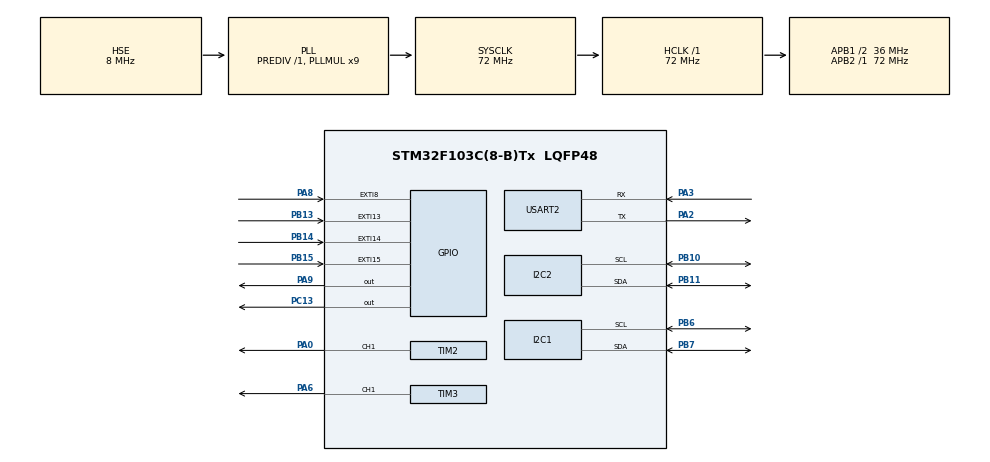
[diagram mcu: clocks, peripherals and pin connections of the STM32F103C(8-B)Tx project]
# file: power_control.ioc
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FREERTOS.Mutexes01=PowerStateAcssess,Dynamic,NULL,Available;I2CAccess,Dynamic,NULL,Available;dev_uart1,Dynamic,NULL,Available
FREERTOS.Queues01=myQueue01,8,buttom_msg_pass_t,0,Dynamic,NULL,NULL
FREERTOS.Tasks01=defaultTask,24,128,StartDefaultTask,Default,NULL,Dynamic,NULL,NULL;buttom,49,128,buttomTask,Default,NULL,Dynamic,NULL,NULL;PIDv,55,160,Vlotage_pid,Default,NULL,Dynamic,NULL,NULL;sensorTask,49,160,sensorRead,Default,NULL,Dynamic,NULL,NULL;sensor_err_hand,25,192,sensor_err_handle,Default,NULL,Dynamic,NULL,NULL;screen,25,192,screen_show,Default,NULL,Dynamic,NULL,NULL;iwdog_feed,55,64,IWDOG_feed,Default,NULL,Dynamic,NULL,NULL;buttomDetectTas,49,128,buttom_detect,Default,NULL,Dynamic,NULL,NULL
FREERTOS.configMINIMAL_STACK_SIZE=64
FREERTOS.configTOTAL_HEAP_SIZE=8192
I2C2.I2C_Mode=I2C_Fast
IWDG.Prescaler=IWDG_PRESCALER_64
IWDG.Reload=1230
Mcu.Family=STM32F1
Mcu.Name=STM32F103C(8-B)Tx
Mcu.Package=LQFP48
NVIC.EXTI15_10_IRQn=true\:5\:0\:true\:true\:true\:2\:false\:true\:true\:true
NVIC.EXTI9_5_IRQn=true\:5\:0\:true\:true\:true\:1\:false\:true\:true\:true
NVIC.PriorityGroup=NVIC_PRIORITYGROUP_4
NVIC.TIM4_IRQn=true\:15\:0\:false\:false\:true\:false\:false\:true\:true
NVIC.TimeBase=TIM4_IRQn
NVIC.TimeBaseIP=TIM4
PA0-WKUP.Signal=S_TIM2_CH1_ETR
PA13.Mode=Serial_Wire
PA13.Signal=SYS_JTMS-SWDIO
PA14.Mode=Serial_Wire
PA14.Signal=SYS_JTCK-SWCLK
PA2.Mode=Asynchronous
PA2.Signal=USART2_TX
PA3.Mode=Asynchronous
PA3.Signal=USART2_RX
PA6.Signal=S_TIM3_CH1
PA8.GPIO_ModeDefaultEXTI=GPIO_MODE_IT_RISING_FALLING
PA8.GPIO_PuPd=GPIO_PULLUP
PA8.Signal=GPXTI8
PA9.GPIO_PuPd=GPIO_NOPULL
PA9.Signal=GPIO_Output
PB10.Mode=I2C
PB10.Signal=I2C2_SCL
PB11.Mode=I2C
PB11.Signal=I2C2_SDA
PB13.GPIO_ModeDefaultEXTI=GPIO_MODE_IT_RISING_FALLING
PB13.GPIO_PuPd=GPIO_PULLUP
PB13.Signal=GPXTI13
PB14.GPIO_ModeDefaultEXTI=GPIO_MODE_IT_RISING_FALLING
PB14.GPIO_PuPd=GPIO_PULLUP
PB14.Signal=GPXTI14
PB15.GPIO_ModeDefaultEXTI=GPIO_MODE_IT_RISING_FALLING
PB15.GPIO_PuPd=GPIO_PULLUP
PB15.Signal=GPXTI15
PB6.Mode=I2C
PB6.Signal=I2C1_SCL
PB7.Mode=I2C
PB7.Signal=I2C1_SDA
PC13-TAMPER-RTC.PinState=GPIO_PIN_SET
PC13-TAMPER-RTC.Signal=GPIO_Output
PD0-OSC_IN.Mode=HSE-External-Oscillator
PD0-OSC_IN.Signal=RCC_OSC_IN
PD1-OSC_OUT.Mode=HSE-External-Oscillator
PD1-OSC_OUT.Signal=RCC_OSC_OUT
ProjectManager.HeapSize=0x200
ProjectManager.StackSize=0x400
ProjectManager.TargetToolchain=MDK-ARM V5.32
RCC.AHBFreq_Value=72000000
RCC.APB1CLKDivider=RCC_HCLK_DIV2
RCC.APB1Freq_Value=36000000
RCC.APB1TimFreq_Value=72000000
RCC.APB2Freq_Value=72000000
RCC.APB2TimFreq_Value=72000000
RCC.HCLKFreq_Value=72000000
RCC.PLLMUL=RCC_PLL_MUL9
RCC.PLLSourceVirtual=RCC_PLLSOURCE_HSE
RCC.SYSCLKFreq_VALUE=72000000
RCC.SYSCLKSource=RCC_SYSCLKSOURCE_PLLCLK
RCC.USBFreq_Value=72000000
SH.S_TIM2_CH1_ETR.0=TIM2_CH1,PWM Generation1 CH1
SH.S_TIM3_CH1.0=TIM3_CH1,PWM Generation1 CH1
TIM1.Period=1999
TIM1.Prescaler=719
TIM2.Channel-PWM\ Generation1\ CH1=TIM_CHANNEL_1
TIM2.Period=999
TIM2.Prescaler=3
TIM2.Pulse-PWM\ Generation1\ CH1=937
TIM3.Channel-PWM\ Generation1\ CH1=TIM_CHANNEL_1
TIM3.Period=999
TIM3.Prescaler=3
TIM3.Pulse-PWM\ Generation1\ CH1=324
USART2.VirtualMode=VM_ASYNC
VP_FREERTOS_VS_CMSIS_V2.Mode=CMSIS_V2
VP_IWDG_VS_IWDG.Mode=IWDG_Activate
VP_SYS_VS_tim4.Mode=TIM4
VP_TIM1_VS_ClockSourceINT.Mode=Internal
board=custom

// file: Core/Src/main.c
/* USER CODE BEGIN Header */
/**
  ******************************************************************************
  * @file           : main.c
  * @brief          : Main program body
  ******************************************************************************
  * @attention
  *
  * Copyright (c) 2026 STMicroelectronics.
  * All rights reserved.
  *
  * This software is licensed under terms that can be found in the LICENSE file
  * in the root directory of this software component.
  * If no LICENSE file comes with this software, it is provided AS-IS.
  *
  ******************************************************************************
  */
/* USER CODE END Header */
#include "main.h"
#include "cmsis_os.h"
#include "i2c.h"
#include "iwdg.h"
#include "tim.h"
#include "usart.h"
#include "gpio.h"

/* USER CODE BEGIN Includes */
#include "powerMaster.h"
#include "power_config.h"
#include "uart_debug.h"
#include "sensors.h"
/* USER CODE END Includes */

void SystemClock_Config(void);
void MX_FREERTOS_Init(void);
static void MX_NVIC_Init(void);

/* USER CODE BEGIN 0 */
// struct sensor_INA226_init INA226_init_data = {INA226_calibration_10A_6mOhm};
// u8g2_t u8g2;
/* USER CODE END 0 */

int main(void)
{

  /* USER CODE BEGIN 1 */
  CoreDebug->DEMCR |= CoreDebug_DEMCR_TRCENA_Msk;
  DWT->CYCCNT = 0;
  DWT->CTRL |= DWT_CTRL_CYCCNTENA_Msk;
  /* USER CODE END 1 */

  /* MCU Configuration--------------------------------------------------------*/

  /* Reset of all peripherals, Initializes the Flash interface and the Systick. */
  HAL_Init();

  /* Configure the system clock */
  SystemClock_Config();

  /* Initialize all configured peripherals */
  MX_GPIO_Init();
  MX_I2C1_Init();
  MX_TIM2_Init();
  MX_TIM3_Init();
  MX_USART2_UART_Init();
  MX_I2C2_Init();
  MX_TIM1_Init();
  MX_IWDG_Init();

  /* Initialize interrupts */
  MX_NVIC_Init();
  /* USER CODE BEGIN 2 */

  Sensors_bus_init();      //bind &hi2c1 to the sensor bus layer

  HAL_TIM_PWM_Start(&htim2,TIM_CHANNEL_1);
  HAL_TIM_PWM_Start(&htim3,TIM_CHANNEL_1);
  HAL_TIM_PWM_Start(&htim1,TIM_CHANNEL_4);

  PowerStateInit(POWER_SETUP_OUT_STATE,POWER_SETUP_VOLTAGE_SET,POWER_SETUP_CURRENT_LIMIT);

  //start
  UART_Printf("main start\r\n");
  /* USER CODE END 2 */

  /* Init scheduler */
  osKernelInitialize();  /* Call init function for freertos objects (in cmsis_os2.c) */
  MX_FREERTOS_Init();

  /* Start scheduler */
  osKernelStart();

  /* We should never get here as control is now taken by the scheduler */

  /* Infinite loop */
  while (1)
  {

  }
}

void SystemClock_Config(void)
{
  RCC_OscInitTypeDef RCC_OscInitStruct = {0};
  RCC_ClkInitTypeDef RCC_ClkInitStruct = {0};

  /** Initializes the RCC Oscillators according to the specified parameters
  * in the RCC_OscInitTypeDef structure.
  */
  RCC_OscInitStruct.OscillatorType = RCC_OSCILLATORTYPE_LSI|RCC_OSCILLATORTYPE_HSE;
  RCC_OscInitStruct.HSEState = RCC_HSE_ON;
  RCC_OscInitStruct.HSEPredivValue = RCC_HSE_PREDIV_DIV1;
  RCC_OscInitStruct.HSIState = RCC_HSI_ON;
  RCC_OscInitStruct.LSIState = RCC_LSI_ON;
  RCC_OscInitStruct.PLL.PLLState = RCC_PLL_ON;
  RCC_OscInitStruct.PLL.PLLSource = RCC_PLLSOURCE_HSE;
  RCC_OscInitStruct.PLL.PLLMUL = RCC_PLL_MUL9;
  if (HAL_RCC_OscConfig(&RCC_OscInitStruct) != HAL_OK)
  {
    Error_Handler();
  }

  /** Initializes the CPU, AHB and APB buses clocks
  */
  RCC_ClkInitStruct.ClockType = RCC_CLOCKTYPE_HCLK|RCC_CLOCKTYPE_SYSCLK
                              |RCC_CLOCKTYPE_PCLK1|RCC_CLOCKTYPE_PCLK2;
  RCC_ClkInitStruct.SYSCLKSource = RCC_SYSCLKSOURCE_PLLCLK;
  RCC_ClkInitStruct.AHBCLKDivider = RCC_SYSCLK_DIV1;
  RCC_ClkInitStruct.APB1CLKDivider = RCC_HCLK_DIV2;
  RCC_ClkInitStruct.APB2CLKDivider = RCC_HCLK_DIV1;

  if (HAL_RCC_ClockConfig(&RCC_ClkInitStruct, FLASH_LATENCY_2) != HAL_OK)
  {
    Error_Handler();
  }
}

/**
  * @brief NVIC Configuration.
  * @retval None
  */
static void MX_NVIC_Init(void)
{
  /* EXTI9_5_IRQn interrupt configuration */
  HAL_NVIC_SetPriority(EXTI9_5_IRQn, 5, 0);
  HAL_NVIC_EnableIRQ(EXTI9_5_IRQn);
  /* EXTI15_10_IRQn interrupt configuration */
  HAL_NVIC_SetPriority(EXTI15_10_IRQn, 5, 0);
  HAL_NVIC_EnableIRQ(EXTI15_10_IRQn);
}

void HAL_TIM_PeriodElapsedCallback(TIM_HandleTypeDef *htim)
{
  if (htim->Instance == TIM4)
  {
    HAL_IncTick();
  }
}

void Error_Handler(void)
{
  __disable_irq();
  while (1)
  {
  }
}

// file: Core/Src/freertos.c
/* USER CODE BEGIN Header */
/**
  ******************************************************************************
  * File Name          : freertos.c
  * Description        : Code for freertos applications
  ******************************************************************************
  * @attention
  *
  * Copyright (c) 2026 STMicroelectronics.
  * All rights reserved.
  *
  * This software is licensed under terms that can be found in the LICENSE file
  * in the root directory of this software component.
  * If no LICENSE file comes with this software, it is provided AS-IS.
  *
  ******************************************************************************
  */
/* USER CODE END Header */

#include "FreeRTOS.h"
#include "task.h"
#include "main.h"
#include "cmsis_os.h"

/* USER CODE BEGIN Includes */
#include "powerMaster.h"
#include "tim.h"
#include "usart.h"
#include "sensors.h"
#include "sensors_dev.h"
#include "stm32_u8g2.h"
#include "stdio.h"
#include "power_config.h"
#include "uart_debug.h"
#include "iwdg.h"
#include "pid.h"
#include "screen.h"
#include "buttom_detect.h"
/* USER CODE END Includes */

/* USER CODE BEGIN Variables */
  /* u8g2 handle */
  //INA226 init data
  struct sensor_INA226_init INA226_init_data = {INA226_calibration_10A_6mOhm};
/* USER CODE END Variables */
/* Definitions for defaultTask */
osThreadId_t defaultTaskHandle;
const osThreadAttr_t defaultTask_attributes = {
  .name = "defaultTask",
  .stack_size = 128 * 4,
  .priority = (osPriority_t) osPriorityNormal,
};
/* Definitions for buttom */
osThreadId_t buttomHandle;
const osThreadAttr_t buttom_attributes = {
  .name = "buttom",
  .stack_size = 128 * 4,
  .priority = (osPriority_t) osPriorityRealtime1,
};
/* Definitions for PIDv */
osThreadId_t PIDvHandle;
const osThreadAttr_t PIDv_attributes = {
  .name = "PIDv",
  .stack_size = 160 * 4,
  .priority = (osPriority_t) osPriorityRealtime7,
};
/* Definitions for sensorTask */
osThreadId_t sensorTaskHandle;
const osThreadAttr_t sensorTask_attributes = {
  .name = "sensorTask",
  .stack_size = 160 * 4,
  .priority = (osPriority_t) osPriorityRealtime1,
};
/* Definitions for sensor_err_hand */
osThreadId_t sensor_err_handHandle;
const osThreadAttr_t sensor_err_hand_attributes = {
  .name = "sensor_err_hand",
  .stack_size = 192 * 4,
  .priority = (osPriority_t) osPriorityNormal1,
};
/* Definitions for screen */
osThreadId_t screenHandle;
const osThreadAttr_t screen_attributes = {
  .name = "screen",
  .stack_size = 192 * 4,
  .priority = (osPriority_t) osPriorityNormal1,
};
/* Definitions for iwdog_feed */
osThreadId_t iwdog_feedHandle;
const osThreadAttr_t iwdog_feed_attributes = {
  .name = "iwdog_feed",
  .stack_size = 64 * 4,
  .priority = (osPriority_t) osPriorityRealtime7,
};
/* Definitions for buttomDetectTas */
osThreadId_t buttomDetectTasHandle;
const osThreadAttr_t buttomDetectTas_attributes = {
  .name = "buttomDetectTas",
  .stack_size = 128 * 4,
  .priority = (osPriority_t) osPriorityRealtime1,
};
/* Definitions for myQueue01 */
osMessageQueueId_t myQueue01Handle;
const osMessageQueueAttr_t myQueue01_attributes = {
  .name = "myQueue01"
};
/* Definitions for PowerStateAcssess */
osMutexId_t PowerStateAcssessHandle;
const osMutexAttr_t PowerStateAcssess_attributes = {
  .name = "PowerStateAcssess"
};
/* Definitions for I2CAccess */
osMutexId_t I2CAccessHandle;
const osMutexAttr_t I2CAccess_attributes = {
  .name = "I2CAccess"
};
/* Definitions for dev_uart1 */
osMutexId_t dev_uart1Handle;
const osMutexAttr_t dev_uart1_attributes = {
  .name = "dev_uart1"
};

/* USER CODE BEGIN FunctionPrototypes */
extern int16_t pid_calculate(float target_voltage, float actual_voltage);
/* USER CODE END FunctionPrototypes */

void StartDefaultTask(void *argument);
void buttomTask(void *argument);
void Vlotage_pid(void *argument);
void sensorRead(void *argument);
void sensor_err_handle(void *argument);
void screen_show(void *argument);
void IWDOG_feed(void *argument);
void buttom_detect(void *argument);

void MX_FREERTOS_Init(void); /* (MISRA C 2004 rule 8.1) */

void MX_FREERTOS_Init(void) {
  /* Create the mutex(es) */
  /* creation of PowerStateAcssess */
  PowerStateAcssessHandle = osMutexNew(&PowerStateAcssess_attributes);

  /* creation of I2CAccess */
  I2CAccessHandle = osMutexNew(&I2CAccess_attributes);

  /* creation of dev_uart1 */
  dev_uart1Handle = osMutexNew(&dev_uart1_attributes);

  /* Create the queue(s) */
  /* creation of myQueue01 */
  myQueue01Handle = osMessageQueueNew (8, sizeof(buttom_msg_pass_t), &myQueue01_attributes);

  /* Create the thread(s) */
  /* creation of defaultTask */
  defaultTaskHandle = osThreadNew(StartDefaultTask, NULL, &defaultTask_attributes);

  /* creation of buttom */
  buttomHandle = osThreadNew(buttomTask, NULL, &buttom_attributes);

  /* creation of PIDv */
  PIDvHandle = osThreadNew(Vlotage_pid, NULL, &PIDv_attributes);

  /* creation of sensorTask */
  sensorTaskHandle = osThreadNew(sensorRead, NULL, &sensorTask_attributes);

  /* creation of sensor_err_hand */
  sensor_err_handHandle = osThreadNew(sensor_err_handle, NULL, &sensor_err_hand_attributes);

  /* creation of screen */
  screenHandle = osThreadNew(screen_show, NULL, &screen_attributes);

  /* creation of iwdog_feed */
  iwdog_feedHandle = osThreadNew(IWDOG_feed, NULL, &iwdog_feed_attributes);

  /* creation of buttomDetectTas */
  buttomDetectTasHandle = osThreadNew(buttom_detect, NULL, &buttomDetectTas_attributes);

}

void StartDefaultTask(void *argument)
{
  for(;;)
  {
    osDelay(1);
  }
}

void buttomTask(void *argument)
{
  /* USER CODE BEGIN buttomTask */
  buttom_msg_pass_t process_msg;
  /* Infinite loop */
  for(;;)
  {
    osMessageQueueGet(myQueue01Handle,&process_msg,0,osWaitForever);

    if(PowerState_lock() == 0)
    {
      switch (process_msg.key_f)
      {
      case BUTTOM_KEY_ON_OFF_F:
        if(process_msg.buttom_type == BUTTOM_PRESS){
          if(PowerState.en_statu == PWR_EN_ON){   //off
            HAL_GPIO_WritePin(GPIOA,GPIO_PIN_9,GPIO_PIN_RESET);
            HAL_GPIO_WritePin(GPIOC,GPIO_PIN_13,GPIO_PIN_SET);
            PowerState.en_statu = PWR_EN_OFF;
          }
          else{
            HAL_GPIO_WritePin(GPIOA,GPIO_PIN_9,GPIO_PIN_SET);
            HAL_GPIO_WritePin(GPIOC,GPIO_PIN_13,GPIO_PIN_RESET);
            PowerState.en_statu = PWR_EN_ON;
          }
        }
        break;
      case BUTTOM_KEY_UP_F:
        if(PowerState.control_mode == PM_CONTROL_MODE_VOLTAGE)  //cv
        {
          if(process_msg.buttom_type == BUTTOM_PRESS){
            if(PowerState.set_voltage + POWER_VOLTAGE_UP_STEP > POWER_MAX_VOLTAGE)
              PowerState.set_voltage = POWER_MAX_VOLTAGE;
            else
              PowerState.set_voltage += POWER_VOLTAGE_UP_STEP;
          }
        }
        break;
      case BUTTOM_KEY_DOWN_F:
        if(PowerState.control_mode == PM_CONTROL_MODE_VOLTAGE)  //cv
        {
          if(process_msg.buttom_type == BUTTOM_PRESS){
            if(PowerState.set_voltage + POWER_VOLTAGE_DOWN_STEP < POWER_MIN_VOLTAGE)
              PowerState.set_voltage = POWER_MIN_VOLTAGE;
            else
              PowerState.set_voltage += POWER_VOLTAGE_DOWN_STEP;
          }
        }
        break;
      case BUTTOM_KEY_MODESWITCH_F:
        if(process_msg.buttom_type == BUTTOM_PRESS){
          PowerState.control_mode = ((PowerState.control_mode == PM_CONTROL_MODE_CURRENT) ? PM_CONTROL_MODE_VOLTAGE : PM_CONTROL_MODE_CURRENT);
        }
        break;

      default:
        break;
      }
      PowerState_unlock();
    }
  }
  /* USER CODE END buttomTask */
}

void Vlotage_pid(void *argument)
{
  /* USER CODE BEGIN Vlotage_pid */
  #ifdef DEV_UART_DEBUG
    int run_count = 0;
  #endif

  //time trace
#ifdef CYCLE_DETECT_PID
#if CYCLE_DETECT_PID == ON
  float pid_min = 999999,pid_max = 0, pid_sum = 0;
  uint32_t pid_count = 0;
#endif
#endif

  PI_data_typedef pi_data;
  PI_init(&pi_data, PI_CV_KP, PI_CV_KI, PI_CV_INTEGRAL_LIMIT, PI_CV_INTEGRAL_DEADZONE);

  float set_voltage = POWER_SETUP_VOLTAGE_SET;
  float new_voltage;  //V
  struct PowerStatus_t powerstate_copy;
  int32_t now_pulse = VOLTAGE_TO_PWM_PULSE(POWER_SETUP_VOLTAGE_SET);       //initial PWM pulse width, just a magic number
  int32_t pwm_pulse;
  TickType_t lastWakeTime = xTaskGetTickCount();   //period base, taken once outside the loop
  uint8_t check_over = 1;
  /* Infinite loop */
  for(;;)
  {
    check_over = 1;     //assume all checks pass, cleared on any fault

    if(PowerState_lock() == 0){
      if(PowerState.now_temperature > TEMPERATUE_LIMIT)
        PowerState.en_statu = PWR_EN_OFF;   //temperature is higher than the limit,disable the power
      powerstate_copy = PowerState;
      PowerState_unlock();
    }else{
      //lock not acquired: leave PowerState untouched this round
      check_over = 0;
    }

    if(
      powerstate_copy.en_statu == PWR_EN_OFF ||
      powerstate_copy.INA226_state == DEVICE_OFFLINE ||
      new_voltage < 0.0f ||
      check_over != 1
    )// wrong
    {
      PI_clear_integral(&pi_data);
    }
    else
    {
      //time trace
#ifdef CYCLE_DETECT_PID
#if CYCLE_DETECT_PID == ON
      uint32_t start = DWT->CYCCNT;
#endif
#endif

      // if(check_over == 1){          //all checks passed: this round may drive the PWM
      if(powerstate_copy.control_mode == PM_CONTROL_MODE_VOLTAGE)
        pwm_pulse = (int32_t)f_PI_calcu_keep(&pi_data,powerstate_copy.set_voltage,powerstate_copy.now_voltage);
      else if(powerstate_copy.control_mode == PM_CONTROL_MODE_CURRENT)
        pwm_pulse = (int32_t)f_PI_calcu_keep(&pi_data,powerstate_copy.set_current,powerstate_copy.now_current);

        if(now_pulse+pwm_pulse > PWM_VOLTAGE_PULSE_MAX)now_pulse = PWM_VOLTAGE_PULSE_MAX;
        else if(now_pulse+pwm_pulse < PWM_VOLTAGE_PULSE_MIN)now_pulse = PWM_VOLTAGE_PULSE_MIN;
        else now_pulse += pwm_pulse;

        __HAL_TIM_SET_COMPARE(&htim3,TIM_CHANNEL_1,now_pulse);
      // }
      //time trace
#ifdef CYCLE_DETECT_PID
#if CYCLE_DETECT_PID == ON
      uint32_t end = DWT->CYCCNT;
      uint32_t cycles = end-start;
      float us = (float)cycles / (SystemCoreClock / 1000000.0f);

      if(us < pid_min)pid_min = us;
      if(us > pid_max)pid_max = us;
      pid_sum += us;
      pid_count++;
      UART_Printf("PID:%.1f us\r\n",us);
      if(pid_count % 100 == 0)
      UART_Printf("PID min:%.1f, avg:%.1f, max:%.1f us\r\n",pid_min,pid_sum/pid_count,pid_max);
#endif
#endif
    }

  #ifdef DEV_UART_DEBUG
    UART_Printf("voltage_pid:%d\r\n",run_count++);
    UART_Printf("voltage_pid_stack:%d\r\n",uxTaskGetStackHighWaterMark(PIDvHandle));
  #endif

    vTaskDelayUntil(&lastWakeTime, pdMS_TO_TICKS(50));  //50ms period
  }
  /* USER CODE END Vlotage_pid */
}

void sensorRead(void *argument)
{
  /* USER CODE BEGIN sensorRead */
#ifdef DEV_UART_DEBUG
  int run_count = 0;
#endif
  //time trace
#ifdef CYCLE_DETECT_I2C1
#if CYCLE_DETECT_I2C1 == ON
  float i2c_min = 999999,i2c_max = 0, i2c_sum = 0;
  uint32_t i2c_count = 0;
#endif
#endif

  float temperature;
  float voltage;
  float current;

  int temperature_err_count = 0;
  int voltage_err_count = 0;
  int current_err_count = 0;

  char I2C_state;
  char INA226_state;
  char TMP112A_state;

  sensor_state_t state_res_temperature;
  sensor_state_t state_res_voltage;
  sensor_state_t state_res_current;
  TickType_t lastWakeTime = xTaskGetTickCount();  //period base
  TickType_t write_time;
  /* Infinite loop */
  INA226_init(INA226_init_data);
  for(;;)
  {
#ifdef DEV_UART_DEBUG
    UART_Printf("sensorRead:%d\r\n",run_count);
    UART_Printf("sensorRead_stack:%d\r\n",uxTaskGetStackHighWaterMark(sensorTaskHandle));
#endif
    //wait first,so continue is the only need to start the next round
    vTaskDelayUntil(&lastWakeTime, pdMS_TO_TICKS(20));  //20ms delay

    I2C_state = DEVICE_OFFLINE;
    INA226_state = DEVICE_OFFLINE;
    TMP112A_state = DEVICE_OFFLINE;
    state_res_temperature = SENSOR_ERR_DEV;
    state_res_voltage = SENSOR_ERR_DEV;
    state_res_current = SENSOR_ERR_DEV;
    //iic sensor read
    if(PowerState_lock() == 0)
    {
      I2C_state = PowerState.I2C1_state;
      INA226_state = PowerState.INA226_state;
      TMP112A_state = PowerState.TMP112_state;
      PowerState_unlock();
    }

    //time trace
#ifdef CYCLE_DETECT_I2C1
#if CYCLE_DETECT_I2C1 == ON
    uint32_t start = DWT->CYCCNT;
#endif
#endif

    if(I2C_state == DEVICE_ONLINE)  //work only when the bus is online
    {
      if(TMP112A_state == DEVICE_ONLINE){
        state_res_temperature = TMP112_ReadTemperature(&temperature);
        if(state_res_temperature != SENSOR_SUCCESS) {// Handle error
          temperature_err_count++;
        }
      }else{
        state_res_temperature = SENSOR_SKIP;
      }

      if(INA226_state == DEVICE_ONLINE)
      {
        state_res_current = INA226_readCuttent(0.0005f,&current);     //0.0005A/per
        if(state_res_current != SENSOR_SUCCESS) {
          current_err_count++;
        }
        state_res_voltage = INA226_readVoltage(0.00125f,&voltage);    //0.00125V/per
        if(state_res_voltage != SENSOR_SUCCESS) {
          voltage_err_count++;
        }
      }else{
        state_res_current = SENSOR_SKIP;
        state_res_voltage = SENSOR_SKIP;
      }
    }

    //time trace
#ifdef CYCLE_DETECT_I2C1
#if CYCLE_DETECT_I2C1 == ON
    uint32_t end = DWT->CYCCNT;
    uint32_t cycles = end-start;
    float us = (float)cycles / (SystemCoreClock / 1000000.0f);

    if(us < i2c_min)i2c_min = us;
    if(us > i2c_max)i2c_max = us;
    i2c_sum += us;
    i2c_count++;
    UART_Printf("I2C:%.1f us\r\n",us);
    if(i2c_count % 100 == 0)
      UART_Printf("I2C min:%.1f, avg:%.1f, max:%.1f us\r\n",i2c_min,i2c_sum/i2c_count,i2c_max);
#endif
#endif

    // write to PowerState struct, reset error counters if they exceed threshold
    if(PowerState_lock() == 0){
      //error count reset
      if(temperature_err_count >= SENSOR_ERROR_THRESHOLD){
        temperature_err_count = 0;
        PowerState.TMP112_state = DEVICE_OFFLINE;
      }
      if(voltage_err_count >= SENSOR_ERROR_THRESHOLD){
        voltage_err_count = 0;
        PowerState.INA226_state = DEVICE_OFFLINE;
      }
      if(current_err_count >= SENSOR_ERROR_THRESHOLD){
        current_err_count = 0;
        PowerState.INA226_state = DEVICE_OFFLINE;
      }
      //data write
      write_time = xTaskGetTickCount();
      if(state_res_temperature == SENSOR_SUCCESS){
        PowerState.now_temperature = temperature;
        PowerState.last_update_time_temperature = write_time;
      }
      if(state_res_voltage == SENSOR_SUCCESS){
        PowerState.now_voltage = voltage;
        PowerState.last_update_time_voltage = write_time;
      }
      if(state_res_current == SENSOR_SUCCESS){
        PowerState.now_current = current;
        PowerState.last_update_time_current = write_time;
      }
      PowerState_unlock();
    }

  }
  /* USER CODE END sensorRead */
}

void sensor_err_handle(void *argument)
{
  /* USER CODE BEGIN sensor_err_handle */
#ifdef DEV_UART_DEBUG
  int run_count = 0;
#endif
  TickType_t lastWakeTime = xTaskGetTickCount();  //period base
  struct PowerStatus_t PowerState_copy;   //local copy to avoid holding the lock too long
  /* Infinite loop */
  for(;;)
  {
  #ifdef DEV_UART_DEBUG
    UART_Printf("sensor_err_handle:%d\r\n",run_count);
    UART_Printf("sensor_err_handle_stack:%d\r\n",uxTaskGetStackHighWaterMark(sensor_err_handHandle));
  #endif

    vTaskDelayUntil(&lastWakeTime, pdMS_TO_TICKS(200));  //200ms delay

    if(PowerState_lock() == 0){
      PowerState_copy = PowerState;
      if(PowerState_copy.INA226_state == DEVICE_OFFLINE && PowerState_copy.TMP112_state == DEVICE_OFFLINE){
        PowerState_copy.I2C1_state = DEVICE_OFFLINE;   //if both sensors are offline, the bus is likely offline too
        PowerState.I2C1_state = DEVICE_OFFLINE;   //update the shared struct immediately
      }

      if(PowerState_copy.SH1106_state == DEVICE_OFFLINE){
        PowerState_copy.I2C2_state = DEVICE_OFFLINE;
        PowerState.I2C2_state = DEVICE_OFFLINE;
      }
      PowerState_unlock();
    }else{
      continue;   //lock not acquired: skip this round
    }

    if(PowerState_copy.I2C1_state == DEVICE_OFFLINE){
      if(Sensors_bus_restart() == 0){
        PowerState_copy.I2C1_state = DEVICE_ONLINE;   //try to recover the bus
      }
    }
    if(PowerState_copy.INA226_state == DEVICE_OFFLINE){
      if(INA226_init(INA226_init_data) == SENSOR_SUCCESS){
        PowerState_copy.INA226_state = DEVICE_ONLINE;   //try to recover the INA226
      }
    }

    if(PowerState_copy.TMP112_state == DEVICE_OFFLINE){
      float temp;
      if(TMP112_ReadTemperature(&temp) == SENSOR_SUCCESS){
        PowerState_copy.TMP112_state = DEVICE_ONLINE;   //try to recover the TMP112
      }
    }

    if(PowerState_copy.I2C2_state == DEVICE_OFFLINE){
      if(I2C2_bus_restart() == 0){
        PowerState_copy.I2C2_state = DEVICE_ONLINE;
      }
    }

    if(PowerState_copy.SH1106_state == DEVICE_OFFLINE && PowerState_copy.I2C2_state == DEVICE_ONLINE){
      u8g2Init(&u8g2);
      PowerState_copy.SH1106_state = DEVICE_ONLINE;
    }

    if(PowerState_lock() == 0){
      if(PowerState_copy.I2C1_state == DEVICE_ONLINE){
        PowerState.I2C1_state = PowerState_copy.I2C1_state;
      }
      if(PowerState_copy.INA226_state == DEVICE_ONLINE){
        PowerState.INA226_state = PowerState_copy.INA226_state;
      }
      if(PowerState_copy.TMP112_state == DEVICE_ONLINE){
        PowerState.TMP112_state = PowerState_copy.TMP112_state;
      }
      if(PowerState_copy.I2C2_state == DEVICE_ONLINE){
        PowerState.I2C2_state = PowerState_copy.I2C2_state;
      }
      if(PowerState_copy.SH1106_state == DEVICE_ONLINE){
        PowerState.SH1106_state = PowerState_copy.SH1106_state;
      }
      PowerState_unlock();
    }//lock not acquired: skip this round
  }
  /* USER CODE END sensor_err_handle */
}

void screen_show(void *argument)
{
  /* USER CODE BEGIN screen_show */
#ifdef DEV_UART_DEBUG
  int run_count = 0;
#endif

//time trace
#ifdef CYCLE_DETECT_SCREEN
#if CYCLE_DETECT_SCREEN == ON
  float screen_min = 999999,screen_max = 0, screen_sum = 0;
  uint32_t screen_count = 0;
#endif
#endif

  struct PowerStatus_t PowerState_copy_last;
  struct PowerStatus_t PowerState_copy;
  TickType_t lastWakeTime = xTaskGetTickCount();  //period base
  int first_flag = 0;
  /* Infinite loop */
  screen_init();
  for(;;)
  {
  #ifdef DEV_UART_DEBUG
    UART_Printf("screen_show:%d\r\n",run_count);
    UART_Printf("screen_show_stack:%d\r\n",uxTaskGetStackHighWaterMark(screenHandle));
  #endif

    vTaskDelayUntil(&lastWakeTime, pdMS_TO_TICKS(400));  //400ms delay
    if(PowerState_lock() == 0){
      PowerState_copy = PowerState;
      PowerState_unlock();
    }else{
      continue;
    }

    //time trace
#ifdef CYCLE_DETECT_SCREEN
#if CYCLE_DETECT_SCREEN == ON
    uint32_t start = DWT->CYCCNT;
#endif
#endif

    screen_clear_buffer();
    screen_set_small_font();
    screen_set_data_print(&PowerState_copy);
    screen_real_data_print(&PowerState_copy);

    screen_send_buffer();
    PowerState_copy_last = PowerState_copy;

    //time trace
#ifdef CYCLE_DETECT_SCREEN
#if CYCLE_DETECT_SCREEN == ON
    uint32_t end = DWT->CYCCNT;
    uint32_t cycles = end-start;
    float us = (float)cycles / (SystemCoreClock / 1000000.0f);

    if(us < screen_min)screen_min = us;
    if(us > screen_max)screen_max = us;
    screen_sum += us;
    screen_count++;
    UART_Printf("screen:%.1f us\r\n",us);
    if(screen_count % 100 == 0)
      UART_Printf("Screen min:%.1f, avg:%.1f, max:%.1f us\r\n",screen_min,screen_sum/screen_count,screen_max);
#endif
#endif
  }
  /* USER CODE END screen_show */
}

void IWDOG_feed(void *argument)
{
  /* USER CODE BEGIN IWDOG_feed */
  TickType_t lastWakeTime = xTaskGetTickCount();  //period base
  /* Infinite loop */
  for(;;)
  {
    //  set feed time 2s
    #ifndef DEV_UART_DEBUG
      HAL_IWDG_Refresh(&hiwdg);
    #endif
    vTaskDelayUntil(&lastWakeTime, pdMS_TO_TICKS(IWDOG_FEED_TIME_MS));
  }
  /* USER CODE END IWDOG_feed */
}

/* USER CODE BEGIN Header_buttom_detect */
/**
* @brief Function implementing the buttomDetectTas thread.
* @param argument: Not used
* @retval None
*/
#define key_detect_num  4   //numbers of key on spy
/* USER CODE END Header_buttom_detect */
void buttom_detect(void *argument)
{
  /* USER CODE BEGIN buttom_detect */
  buttom_msg_pass_t msg_pass;
  uint32_t flags;
  buttom_msg_t bmt_key_onoff;
  buttom_msg_t bmt_key_up;
  buttom_msg_t bmt_key_down;
  buttom_msg_t bmt_key_mode_switch;

  buttom_init(&bmt_key_onoff, GPIOA, GPIO_PIN_8, BUTTOM_KEY_ON_OFF_F);
  buttom_init(&bmt_key_up, GPIOB, GPIO_PIN_15, BUTTOM_KEY_UP_F);
  buttom_init(&bmt_key_down, GPIOB, GPIO_PIN_14, BUTTOM_KEY_DOWN_F);
  buttom_init(&bmt_key_mode_switch, GPIOB, GPIO_PIN_13, BUTTOM_KEY_MODESWITCH_F);

  buttom_msg_t *bmt_arr[key_detect_num] = {&bmt_key_onoff, &bmt_key_up, &bmt_key_down, &bmt_key_mode_switch};

  TickType_t lastWakeTime = xTaskGetTickCount();  //period base
  for(;;)
  {
    vTaskDelayUntil(&lastWakeTime, pdMS_TO_TICKS(BUTTOM_DETECT_CYCLE_MS));
    flags = osThreadFlagsGet();
    if(flags != 0U)
    {
      for(int i=0;i<key_detect_num;i++) //start to detect whitch edge
      {
        if(((flags & bmt_arr[i]->buttom_flag) != 0) && bmt_arr[i]->on_use == 0){
          osThreadFlagsClear(bmt_arr[i]->buttom_flag);
          bmt_arr[i]->on_use = 1;
        }
      }
    }

    for(int i=0;i<key_detect_num;i++)
    {
      if(bmt_arr[i]->on_use == 1){// count how many counts and high levels
        if(HAL_GPIO_ReadPin(bmt_arr[i]->gpio,bmt_arr[i]->gpio_pin) == GPIO_PIN_RESET){
          bmt_arr[i]->count_time++;
        }else{
          bmt_arr[i]->count_time++;
          bmt_arr[i]->high_times++;
        }
      }

      if(bmt_arr[i]->count_time >= BUTTOM_OVER_DETECT_TIMES){
        if(bmt_arr[i]->high_times > BUTTOM_OVER_DETECT_TIMES/2){    //high > count/2 is high
          buttom_state(bmt_arr[i],BUTTOM_ACTION_UP);
        }else{
          buttom_state(bmt_arr[i],BUTTOM_ACTION_DOWN);
        }
        bmt_arr[i]->count_time = 0;   //clear for next detect
        bmt_arr[i]->high_times = 0;
        bmt_arr[i]->on_use = 0;
      }else{
        msg_pass.buttom_type = buttom_state(bmt_arr[i],BUTTOM_ACTION_NONE);
        msg_pass.key_f = bmt_arr[i]->buttom_flag;
        if(
          msg_pass.buttom_type == BUTTOM_PRESS ||
          msg_pass.buttom_type == BUTTOM_LPRESS ||
          msg_pass.buttom_type == BUTTOM_DPRESS
        )
        osMessageQueuePut(myQueue01Handle,&msg_pass,0,pdMS_TO_TICKS(1));
      }
    }
  }
  /* USER CODE END buttom_detect */
}

/* USER CODE BEGIN Application */
void HAL_GPIO_EXTI_Callback(uint16_t GPIO_Pin)
{
  if(GPIO_Pin == GPIO_PIN_8)
  {
    HAL_NVIC_ClearPendingIRQ(EXTI9_5_IRQn);
    osThreadFlagsSet(buttomDetectTasHandle,BUTTOM_KEY_ON_OFF_F);
  }

  if((GPIO_Pin == GPIO_PIN_13))
  {
    HAL_NVIC_ClearPendingIRQ(EXTI15_10_IRQn);
    osThreadFlagsSet(buttomDetectTasHandle,BUTTOM_KEY_MODESWITCH_F);
  }

  if(GPIO_Pin == GPIO_PIN_14)
  {
    HAL_NVIC_ClearPendingIRQ(EXTI15_10_IRQn);
    osThreadFlagsSet(buttomDetectTasHandle,BUTTOM_KEY_DOWN_F);
  }

  if(GPIO_Pin == GPIO_PIN_15)
  {
    HAL_NVIC_ClearPendingIRQ(EXTI15_10_IRQn);
    osThreadFlagsSet(buttomDetectTasHandle,BUTTOM_KEY_UP_F);
  }
}
/* I2C 总线互斥：覆盖 sensors_dev.c 里的弱函数实现
 * 返回 0 = 已持锁；非 0 = 没取到，设备层会放弃本次总线访问并返回 ERR_BUSY
 * 互斥量在 MX_FREERTOS_Init 里创建，创建前（内核尚未启动）句柄为空，直接放行 */
int I2C_dev_lock(sensor_dev_i2c_t i2c)
{
  switch (i2c)
  {
  case SENSOR_DEV_I2C1:
    if(I2CAccessHandle == NULL) return 0;
    return (osMutexAcquire(I2CAccessHandle, I2C_LOCK_TIMEOUT_TICKS) == osOK) ? 0 : -1;
  case SENSOR_DEV_I2C2:
    break;

  default:
    return -1;
  }
  return -1;
}

void I2C_dev_unlock(sensor_dev_i2c_t i2c)
{
  switch (i2c)
  {
  case SENSOR_DEV_I2C1:
  if(I2CAccessHandle != NULL)
    osMutexRelease(I2CAccessHandle);
    break;
  case SENSOR_DEV_I2C2:
    break;

  default:
    break;
  }
}

int I2C_sensor_dev_lock(void)
{
  if(I2CAccessHandle == NULL)
  {
    return 0;                                   //single threaded before the scheduler runs
  }
  return (osMutexAcquire(I2CAccessHandle, I2C_LOCK_TIMEOUT_TICKS) == osOK) ? 0 : -1;
}

void I2C_sensor_dev_unlock(void)
{
  if(I2CAccessHandle != NULL)
  {
    osMutexRelease(I2CAccessHandle);
  }
}

/*powerstate mutex functions*/
/* 与 powerMaster.c 里的弱函数配对：返回 0 = 已持锁，非 0 = 没取到 */
int PowerState_lock(void)
{
  if(PowerStateAcssessHandle == NULL)
  {
    return 0;                                   //single threaded before the scheduler runs
  }
  return (osMutexAcquire(PowerStateAcssessHandle, POWERSTATE_LOCK_TIMEOUT_TICKS) == osOK) ? 0 : -1;
}

int PowerState_unlock(void)
{
  if(PowerStateAcssessHandle == NULL)
  {
    return 0;
  }
  return (osMutexRelease(PowerStateAcssessHandle) == osOK) ? 0 : -1;
}

//uart_dev.h
int UART_lock_simple(void){
  if(dev_uart1Handle == NULL)
    return 0;
  return (osMutexAcquire(dev_uart1Handle,POWERSTATE_LOCK_TIMEOUT_TICKS)==osOK) ? 0 : -1;
}
void UART_unlock_simple(void){
  if(dev_uart1Handle != NULL)
	  osMutexRelease(dev_uart1Handle);
}
/* USER CODE END Application */
